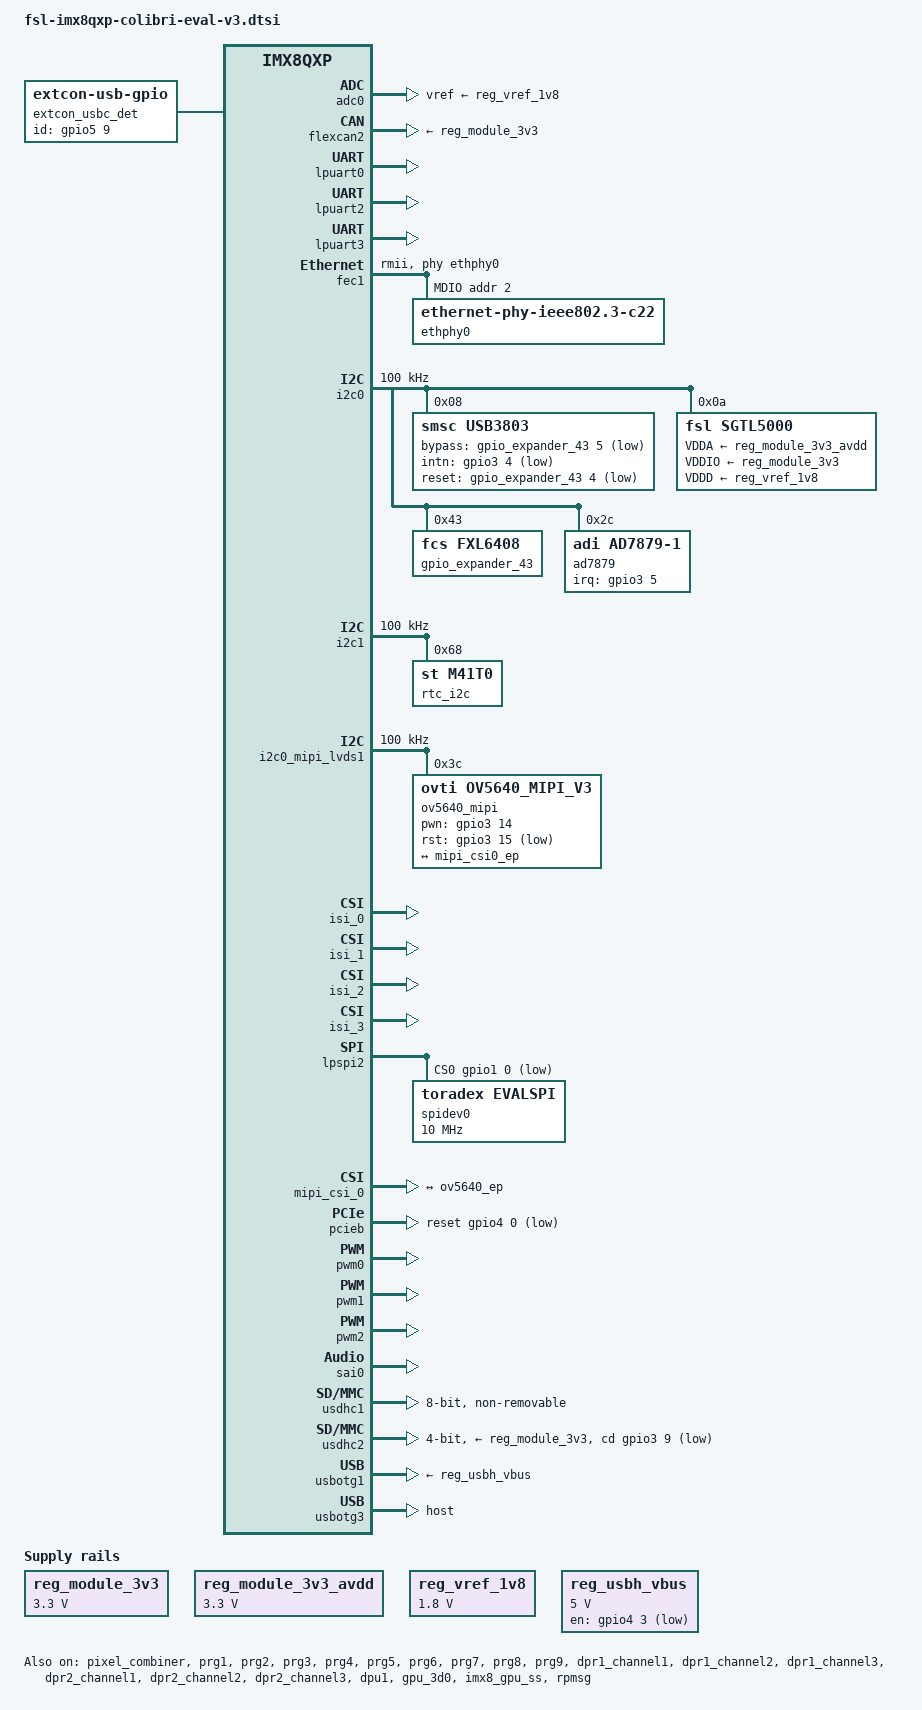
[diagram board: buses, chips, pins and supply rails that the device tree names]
// SPDX-License-Identifier: GPL-2.0+ OR X11
/*
 * Copyright 2018-2019 Toradex
 */

#include "fsl-imx8qxp.dtsi"

/ {
	aliases {
		rtc0 = &rtc_i2c;
		rtc1 = &rtc;
	};

	chosen {
		bootargs = "console=ttyLP3,115200 earlycon=lpuart32,0x5a090000,115200";
		stdout-path = &lpuart3;
	};

	extcon_usbc_det: usbc_det {
		compatible = "linux,extcon-usb-gpio";
		debounce = <25>;
		id-gpio = <&gpio5 9 GPIO_ACTIVE_HIGH>;
		pinctrl-names = "default";
		pinctrl-0 = <&pinctrl_usbc_det &pinctrl_ext_io0>;
	};

	regulators {
		compatible = "simple-bus";
		#address-cells = <1>;
		#size-cells = <0>;

		reg_module_3v3: regulator-module-3v3 {
			compatible = "regulator-fixed";
			regulator-name = "+V3.3";
			regulator-min-microvolt = <3300000>;
			regulator-max-microvolt = <3300000>;
		};

		reg_module_3v3_avdd: regulator-module-3v3-avdd {
			compatible = "regulator-fixed";
			regulator-name = "+V3.3_AVDD_AUDIO";
			regulator-min-microvolt = <3300000>;
			regulator-max-microvolt = <3300000>;
		};

		reg_vref_1v8: regulator-vref-1v8 {
			compatible = "regulator-fixed";
			regulator-name = "vref-1v8";
			regulator-min-microvolt = <1800000>;
			regulator-max-microvolt = <1800000>;
		};

		reg_usbh_vbus: regulator-usbh-vbus {
			compatible = "regulator-fixed";
			pinctrl-names = "default";
			pinctrl-0 = <&pinctrl_usbh1_reg>;
			regulator-name = "usbh_vbus";
			regulator-min-microvolt = <5000000>;
			regulator-max-microvolt = <5000000>;
			gpio = <&gpio4 3 GPIO_ACTIVE_LOW>;
			regulator-always-on;
		};
	};

	sound {
		compatible = "simple-audio-card";
		simple-audio-card,name = "imx8qxp-sgtl5000";
		simple-audio-card,format = "i2s";
		simple-audio-card,bitclock-master = <&dailink_master>;
		simple-audio-card,frame-master = <&dailink_master>;
		/*simple-audio-card,mclk-fs = <1>;*/

		simple-audio-card,cpu {
			sound-dai = <&sai0>;
		};

		dailink_master: simple-audio-card,codec {
			sound-dai = <&sgtl5000>;
			clocks = <&clk IMX8QXP_AUD_MCLKOUT0>;
		};
	};
};

&iomuxc {
	pinctrl-names = "default";
	pinctrl-0 = <&pinctrl_hog0>, <&pinctrl_hog1>, <&pinctrl_hog2>;

	colibri-imx8qxp {
		pinctrl_ad7879_int: ad7879-int { /* TOUCH Interrupt */
			fsl,pins = <
				SC_P_MIPI_CSI0_I2C0_SCL_LSIO_GPIO3_IO05	0x00000021
			>;
		};

		pinctrl_adc0: adc0grp {
			fsl,pins = <
				SC_P_ADC_IN0_ADMA_ADC_IN0		0x60
				SC_P_ADC_IN1_ADMA_ADC_IN1		0x60
				SC_P_ADC_IN4_ADMA_ADC_IN4		0x60
				SC_P_ADC_IN5_ADMA_ADC_IN5		0x60
			>;
		};

		pinctrl_csi_ctl: csictlgrp {
			fsl,pins = <
				SC_P_QSPI0A_SS0_B_LSIO_GPIO3_IO14	0x00000020 /*  77 */
				SC_P_QSPI0A_SS1_B_LSIO_GPIO3_IO15	0x00000020 /*  89 */
			>;
		};

		pinctrl_lpuart0: lpuart0grp {
			fsl,pins = <
				SC_P_UART0_RX_ADMA_UART0_RX	0x06000020
				SC_P_UART0_TX_ADMA_UART0_TX	0x06000020
				SC_P_FLEXCAN0_RX_ADMA_UART0_RTS_B	0x06000020
				SC_P_FLEXCAN0_TX_ADMA_UART0_CTS_B	0x06000020
			>;
		};

		pinctrl_lpuart2: lpuart2grp {
			fsl,pins = <
				SC_P_UART2_RX_ADMA_UART2_RX	0x06000020
				SC_P_UART2_TX_ADMA_UART2_TX	0x06000020
			>;
		};

		pinctrl_lpuart3: lpuart3grp {
			fsl,pins = <
				SC_P_FLEXCAN2_RX_ADMA_UART3_RX	0x06000020
				SC_P_FLEXCAN2_TX_ADMA_UART3_TX	0x06000020
			>;
		};

		pinctrl_lpuart3_ctrl: lpuart3ctrlgrp {
			fsl,pins = <
				SC_P_MIPI_DSI1_GPIO0_01_LSIO_GPIO2_IO00 0x00000020 /* DTR */
				SC_P_SAI1_RXD_LSIO_GPIO0_IO29		0x00000020 /* CTS */
				SC_P_SAI1_RXC_LSIO_GPIO0_IO30		0x00000020 /* RTS */
				SC_P_CSI_RESET_LSIO_GPIO3_IO03		0x00000020 /* DSR */
				SC_P_USDHC1_CD_B_LSIO_GPIO4_IO22	0x00000020 /* DCD */
				SC_P_CSI_EN_LSIO_GPIO3_IO02		0x00000020 /* RI */
			>;
		};

		pinctrl_fec1: fec1grp {
			fsl,pins = <
				SC_P_COMP_CTL_GPIO_1V8_3V3_ENET_ENETB0_PAD	0x000014a0 /* Use pads in 3.3V mode */
				SC_P_COMP_CTL_GPIO_1V8_3V3_ENET_ENETB1_PAD	0x000014a0 /* Use pads in 3.3V mode */
				SC_P_ENET0_MDC_CONN_ENET0_MDC			0x06000020
				SC_P_ENET0_MDIO_CONN_ENET0_MDIO			0x06000020
				SC_P_ENET0_RGMII_TX_CTL_CONN_ENET0_RGMII_TX_CTL	0x00000061
				SC_P_ENET0_RGMII_TXC_CONN_ENET0_RCLK50M_OUT	0x06000061
				SC_P_ENET0_RGMII_TXD0_CONN_ENET0_RGMII_TXD0	0x00000061
				SC_P_ENET0_RGMII_TXD1_CONN_ENET0_RGMII_TXD1	0x00000061
				SC_P_ENET0_RGMII_RX_CTL_CONN_ENET0_RGMII_RX_CTL	0x00000061
				SC_P_ENET0_RGMII_RXD0_CONN_ENET0_RGMII_RXD0	0x00000061
				SC_P_ENET0_RGMII_RXD1_CONN_ENET0_RGMII_RXD1	0x00000061
				SC_P_ENET0_RGMII_RXD2_CONN_ENET0_RMII_RX_ER	0x00000061
			>;
		};

		pinctrl_fec1_sleep: fec1-sleep-grp {
			fsl,pins = <
				SC_P_ENET0_MDC_LSIO_GPIO5_IO11			0x06000041
				SC_P_ENET0_MDIO_LSIO_GPIO5_IO10			0x06000041
				SC_P_ENET0_RGMII_TX_CTL_LSIO_GPIO4_IO30		0x00000041
				SC_P_ENET0_RGMII_TXC_LSIO_GPIO4_IO29		0x00000041
				SC_P_ENET0_RGMII_TXD0_LSIO_GPIO4_IO31		0x00000041
				SC_P_ENET0_RGMII_TXD1_LSIO_GPIO5_IO00		0x00000041
				SC_P_ENET0_RGMII_RX_CTL_LSIO_GPIO5_IO04		0x00000041
				SC_P_ENET0_RGMII_RXD0_LSIO_GPIO5_IO05		0x00000041
				SC_P_ENET0_RGMII_RXD1_LSIO_GPIO5_IO06		0x00000041
				SC_P_ENET0_RGMII_RXD2_LSIO_GPIO5_IO07		0x00000041
			>;
		};

		pinctrl_gpio_bl_on: gpio-bl-on {
			fsl,pins = <
				SC_P_QSPI0A_DATA3_LSIO_GPIO3_IO12	0x00000040
			>;
		};

		pinctrl_hog0: hog0grp {
			fsl,pins = <
				SC_P_COMP_CTL_GPIO_1V8_3V3_GPIORHB_PAD	0x000514a0 /* Use pads in 3.3V mode */
			>;
		};

		pinctrl_hog1: hog1grp {
			fsl,pins = <
				SC_P_QSPI0A_DATA1_LSIO_GPIO3_IO10	0x00000020 /*  45 */
				SC_P_ENET0_RGMII_TXD3_LSIO_GPIO5_IO02	0x06000020 /*  65 */
					SC_P_CSI_D07_CI_PI_D09		0x00000061
				SC_P_QSPI0A_DATA2_LSIO_GPIO3_IO11	0x00000020 /*  69 */
				SC_P_QSPI0A_DQS_LSIO_GPIO3_IO13		0x00000020 /*  73 */
				SC_P_SAI0_TXC_LSIO_GPIO0_IO26		0x00000020 /*  79 */
					SC_P_CSI_D02_CI_PI_D04		0x00000061
				SC_P_ENET0_RGMII_RXC_LSIO_GPIO5_IO03	0x06000020 /*  85 */
					SC_P_CSI_D06_CI_PI_D08		0x00000061
				SC_P_QSPI0B_SCLK_LSIO_GPIO3_IO17	0x00000020 /*  95 */
				SC_P_SAI0_RXD_LSIO_GPIO0_IO27		0x00000020 /*  97 */
					SC_P_CSI_D03_CI_PI_D05		0x00000061
				SC_P_QSPI0B_DATA0_LSIO_GPIO3_IO18	0x00000020 /*  99 */
				SC_P_SAI0_TXFS_LSIO_GPIO0_IO28		0x00000020 /* 101 */
					SC_P_CSI_D00_CI_PI_D02		0x00000061
				SC_P_SAI0_TXD_LSIO_GPIO0_IO25		0x00000020 /* 103 */
					SC_P_CSI_D01_CI_PI_D03		0x00000061
				SC_P_QSPI0B_DATA1_LSIO_GPIO3_IO19	0x00000020 /* 105 */
				SC_P_QSPI0B_DATA2_LSIO_GPIO3_IO20	0x00000020 /* 107 */
				SC_P_USB_SS3_TC2_LSIO_GPIO4_IO05	0x00000020 /* 127 */
				SC_P_USB_SS3_TC3_LSIO_GPIO4_IO06	0x00000020 /* 131 */
				SC_P_USB_SS3_TC1_LSIO_GPIO4_IO04	0x00000020 /* 133 */
				SC_P_CSI_PCLK_LSIO_GPIO3_IO00		0x00000020 /*  96 */
				SC_P_QSPI0B_DATA3_LSIO_GPIO3_IO21	0x00000020 /*  98 */
				SC_P_SAI1_RXFS_LSIO_GPIO0_IO31		0x00000020 /* 100 */
				SC_P_QSPI0B_DQS_LSIO_GPIO3_IO22		0x00000020 /* 102 */
				SC_P_QSPI0B_SS0_B_LSIO_GPIO3_IO23	0x00000020 /* 104 */
				SC_P_QSPI0B_SS1_B_LSIO_GPIO3_IO24	0x00000020 /* 106 */
			>;
		};

		pinctrl_hog2: hog2grp {
			fsl,pins = <
				SC_P_CSI_MCLK_LSIO_GPIO3_IO01		0x00000020 /*  75 */
				SC_P_QSPI0A_SCLK_LSIO_GPIO3_IO16	0x00000020 /*  93 */
			>;
		};

		/* This pin is used in the SCFW as a UART. Using it from
		 * Linux would require rewritting the SCFW board file.
		 */
		pinctrl_hog_scfw: hogscfwgrp {
			fsl,pins = <
				SC_P_SCU_GPIO0_00_LSIO_GPIO2_IO03	0x00000020 /* 144 */
			>;
		};

		/* On Module I2C */
		pinctrl_i2c0: i2c0grp {
			fsl,pins = <
				SC_P_MIPI_CSI0_GPIO0_00_ADMA_I2C0_SCL	0x06000021
				SC_P_MIPI_CSI0_GPIO0_01_ADMA_I2C0_SDA	0x06000021
			>;
		};

		/* Off Module I2C */
		pinctrl_i2c1: i2c1grp {
			fsl,pins = <
				SC_P_MIPI_DSI0_GPIO0_00_ADMA_I2C1_SCL	0x06000021
				SC_P_MIPI_DSI0_GPIO0_01_ADMA_I2C1_SDA	0x06000021
			>;
		};

		pinctrl_flexcan1: flexcan0grp {
			fsl,pins = <
				SC_P_FLEXCAN0_TX_ADMA_FLEXCAN0_TX		0x21
				SC_P_FLEXCAN0_RX_ADMA_FLEXCAN0_RX		0x21
			>;
		};

		pinctrl_flexcan2: flexcan1grp {
			fsl,pins = <
				SC_P_FLEXCAN1_TX_ADMA_FLEXCAN1_TX		0x21
				SC_P_FLEXCAN1_RX_ADMA_FLEXCAN1_RX		0x21
			>;
		};

		pinctrl_pcieb: pciebgrp {
			fsl,pins = <
				SC_P_PCIE_CTRL0_CLKREQ_B_LSIO_GPIO4_IO01 0x04000061
				SC_P_PCIE_CTRL0_WAKE_B_LSIO_GPIO4_IO02	0x04000061
				SC_P_PCIE_CTRL0_PERST_B_LSIO_GPIO4_IO00	0x00000060
			>;
		};

		pinctrl_pwm_a: pwma {
		/* both pins are connected together, reserve the unused CSI_D05 */
			fsl,pins = <
				SC_P_CSI_D05_CI_PI_D07			0x00000061
				SC_P_SPI0_CS1_ADMA_LCD_PWM0_OUT		0x00000060
			>;
		};

		pinctrl_pwm_b: pwmb {
			fsl,pins = <
				SC_P_UART1_TX_LSIO_PWM0_OUT		0x00000060
			>;
		};

		pinctrl_pwm_c: pwmc {
			fsl,pins = <
				SC_P_UART1_RX_LSIO_PWM1_OUT		0x00000060
			>;
		};

		pinctrl_pwm_d: pwmd {
		/* both pins are connected together, reserve the unused CSI_D04 */
			fsl,pins = <
				SC_P_CSI_D04_CI_PI_D06			0x00000061
				SC_P_UART1_RTS_B_LSIO_PWM2_OUT		0x00000060
			>;
		};

		pinctrl_sai0: sai0grp {
			fsl,pins = <
				SC_P_SPI0_SDI_ADMA_SAI0_TXD		0x06000040
				SC_P_SPI0_CS0_ADMA_SAI0_RXD		0x06000040
				SC_P_SPI0_SCK_ADMA_SAI0_TXC		0x06000040
				SC_P_SPI0_SDO_ADMA_SAI0_TXFS		0x06000040
			>;
		};

		pinctrl_sgtl5000: sgtl5000 {
			fsl,pins = <
				/* MIC GND EN */
				SC_P_MIPI_CSI0_I2C0_SDA_LSIO_GPIO3_IO06 0x00000041
			>;
		};

		pinctrl_sgtl5000_usb_clk: sgtl5000-usb-clk {
			fsl,pins = <
				SC_P_ADC_IN3_ADMA_ACM_MCLK_OUT0		0x00000021
			>;
		};

		/*INT*/
		pinctrl_usb3503a: usb3503a-grp {
			fsl,pins = <
				SC_P_MIPI_CSI0_MCLK_OUT_LSIO_GPIO3_IO04 0x00000061
			>;
		};

		pinctrl_usbc_det: usbc-det {
			fsl,pins = <
				SC_P_ENET0_REFCLK_125M_25M_LSIO_GPIO5_IO09	0x06000040
			>;
		};

		pinctrl_ext_io0: ext-io0 {
			fsl,pins = <
				SC_P_ENET0_RGMII_RXD3_LSIO_GPIO5_IO08	0x06000040
			>;
		};

		pinctrl_lcdif: lcdif-pins {
			fsl,pins = <
				SC_P_MCLK_OUT0_ADMA_LCDIF_CLK		0x00000060
				SC_P_SPI3_CS0_ADMA_LCDIF_HSYNC		0x00000060
				SC_P_MCLK_IN0_ADMA_LCDIF_VSYNC		0x00000060
				SC_P_MCLK_IN1_ADMA_LCDIF_EN		0x00000060
				  SC_P_USDHC1_RESET_B_LSIO_GPIO4_IO19	0x00000060

				SC_P_ESAI0_FSR_ADMA_LCDIF_D00		0x00000060
				  SC_P_USDHC1_WP_LSIO_GPIO4_IO21	0x00000060
				SC_P_ESAI0_FST_ADMA_LCDIF_D01		0x00000060
				SC_P_ESAI0_SCKR_ADMA_LCDIF_D02		0x00000060
				SC_P_ESAI0_SCKT_ADMA_LCDIF_D03		0x00000060
				SC_P_ESAI0_TX0_ADMA_LCDIF_D04		0x00000060
				SC_P_ESAI0_TX1_ADMA_LCDIF_D05		0x00000060
				SC_P_ESAI0_TX2_RX3_ADMA_LCDIF_D06	0x00000060
				SC_P_ESAI0_TX3_RX2_ADMA_LCDIF_D07	0x00000060
				SC_P_ESAI0_TX4_RX1_ADMA_LCDIF_D08	0x00000060
				SC_P_ESAI0_TX5_RX0_ADMA_LCDIF_D09	0x00000060
				SC_P_SPDIF0_RX_ADMA_LCDIF_D10		0x00000060
				SC_P_SPDIF0_TX_ADMA_LCDIF_D11		0x00000060
				SC_P_SPDIF0_EXT_CLK_ADMA_LCDIF_D12	0x00000060
				SC_P_SPI3_SCK_ADMA_LCDIF_D13		0x00000060
				SC_P_SPI3_SDO_ADMA_LCDIF_D14		0x00000060
				SC_P_SPI3_SDI_ADMA_LCDIF_D15		0x00000060
				SC_P_SPI3_CS1_ADMA_LCDIF_D16		0x00000060
				  SC_P_ENET0_RGMII_TXD2_LSIO_GPIO5_IO01	0x00000060
				SC_P_UART1_CTS_B_ADMA_LCDIF_D17		0x00000060
			>;
		};

		pinctrl_usbh1_reg: usbh1-reg {
			fsl,pins = <
				SC_P_USB_SS3_TC0_LSIO_GPIO4_IO03	0x06000040
			>;
		};

		pinctrl_usdhc1: usdhc1grp {
			fsl,pins = <
				SC_P_EMMC0_CLK_CONN_EMMC0_CLK		0x06000041
				SC_P_EMMC0_CMD_CONN_EMMC0_CMD		0x00000021
				SC_P_EMMC0_DATA0_CONN_EMMC0_DATA0	0x00000021
				SC_P_EMMC0_DATA1_CONN_EMMC0_DATA1	0x00000021
				SC_P_EMMC0_DATA2_CONN_EMMC0_DATA2	0x00000021
				SC_P_EMMC0_DATA3_CONN_EMMC0_DATA3	0x00000021
				SC_P_EMMC0_DATA4_CONN_EMMC0_DATA4	0x00000021
				SC_P_EMMC0_DATA5_CONN_EMMC0_DATA5	0x00000021
				SC_P_EMMC0_DATA6_CONN_EMMC0_DATA6	0x00000021
				SC_P_EMMC0_DATA7_CONN_EMMC0_DATA7	0x00000021
				SC_P_EMMC0_STROBE_CONN_EMMC0_STROBE	0x00000041
				SC_P_EMMC0_RESET_B_CONN_EMMC0_RESET_B	0x00000021
			>;
		};

		pinctrl_usdhc1_100mhz: usdhc1grp100mhz {
			fsl,pins = <
				SC_P_EMMC0_CLK_CONN_EMMC0_CLK		0x06000041
				SC_P_EMMC0_CMD_CONN_EMMC0_CMD		0x00000021
				SC_P_EMMC0_DATA0_CONN_EMMC0_DATA0	0x00000021
				SC_P_EMMC0_DATA1_CONN_EMMC0_DATA1	0x00000021
				SC_P_EMMC0_DATA2_CONN_EMMC0_DATA2	0x00000021
				SC_P_EMMC0_DATA3_CONN_EMMC0_DATA3	0x00000021
				SC_P_EMMC0_DATA4_CONN_EMMC0_DATA4	0x00000021
				SC_P_EMMC0_DATA5_CONN_EMMC0_DATA5	0x00000021
				SC_P_EMMC0_DATA6_CONN_EMMC0_DATA6	0x00000021
				SC_P_EMMC0_DATA7_CONN_EMMC0_DATA7	0x00000021
				SC_P_EMMC0_STROBE_CONN_EMMC0_STROBE	0x00000041
				SC_P_EMMC0_RESET_B_CONN_EMMC0_RESET_B	0x00000021
			>;
		};

		pinctrl_usdhc1_200mhz: usdhc1grp200mhz {
			fsl,pins = <
				SC_P_EMMC0_CLK_CONN_EMMC0_CLK		0x06000041
				SC_P_EMMC0_CMD_CONN_EMMC0_CMD		0x00000021
				SC_P_EMMC0_DATA0_CONN_EMMC0_DATA0	0x00000021
				SC_P_EMMC0_DATA1_CONN_EMMC0_DATA1	0x00000021
				SC_P_EMMC0_DATA2_CONN_EMMC0_DATA2	0x00000021
				SC_P_EMMC0_DATA3_CONN_EMMC0_DATA3	0x00000021
				SC_P_EMMC0_DATA4_CONN_EMMC0_DATA4	0x00000021
				SC_P_EMMC0_DATA5_CONN_EMMC0_DATA5	0x00000021
				SC_P_EMMC0_DATA6_CONN_EMMC0_DATA6	0x00000021
				SC_P_EMMC0_DATA7_CONN_EMMC0_DATA7	0x00000021
				SC_P_EMMC0_STROBE_CONN_EMMC0_STROBE	0x00000041
				SC_P_EMMC0_RESET_B_CONN_EMMC0_RESET_B	0x00000021
			>;
		};

		pinctrl_usdhc2_gpio: usdhc2gpiogrp {
			fsl,pins = <
				SC_P_QSPI0A_DATA0_LSIO_GPIO3_IO09	0x06000021
			>;
		};

		pinctrl_usdhc2: usdhc2grp {
			fsl,pins = <
				SC_P_USDHC1_CLK_CONN_USDHC1_CLK		0x06000041
				SC_P_USDHC1_CMD_CONN_USDHC1_CMD		0x00000021
				SC_P_USDHC1_DATA0_CONN_USDHC1_DATA0	0x00000021
				SC_P_USDHC1_DATA1_CONN_USDHC1_DATA1	0x00000021
				SC_P_USDHC1_DATA2_CONN_USDHC1_DATA2	0x00000021
				SC_P_USDHC1_DATA3_CONN_USDHC1_DATA3	0x00000021
				SC_P_USDHC1_VSELECT_CONN_USDHC1_VSELECT	0x00000021
			>;
		};

		pinctrl_usdhc2_100mhz: usdhc2grp100mhz {
			fsl,pins = <
				SC_P_USDHC1_CLK_CONN_USDHC1_CLK		0x06000041
				SC_P_USDHC1_CMD_CONN_USDHC1_CMD		0x00000021
				SC_P_USDHC1_DATA0_CONN_USDHC1_DATA0	0x00000021
				SC_P_USDHC1_DATA1_CONN_USDHC1_DATA1	0x00000021
				SC_P_USDHC1_DATA2_CONN_USDHC1_DATA2	0x00000021
				SC_P_USDHC1_DATA3_CONN_USDHC1_DATA3	0x00000021
				SC_P_USDHC1_VSELECT_CONN_USDHC1_VSELECT	0x00000021
			>;
		};

		pinctrl_usdhc2_200mhz: usdhc2grp200mhz {
			fsl,pins = <
				SC_P_USDHC1_CLK_CONN_USDHC1_CLK		0x06000041
				SC_P_USDHC1_CMD_CONN_USDHC1_CMD		0x00000021
				SC_P_USDHC1_DATA0_CONN_USDHC1_DATA0	0x00000021
				SC_P_USDHC1_DATA1_CONN_USDHC1_DATA1	0x00000021
				SC_P_USDHC1_DATA2_CONN_USDHC1_DATA2	0x00000021
				SC_P_USDHC1_DATA3_CONN_USDHC1_DATA3	0x00000021
				SC_P_USDHC1_VSELECT_CONN_USDHC1_VSELECT	0x00000021
			>;
		};
#if 0
		pinctrl_flexspi0: flexspi0grp {
			fsl,pins = <
				SC_P_QSPI0A_DATA0_LSIO_QSPI0A_DATA0	0x0600004c
				SC_P_QSPI0A_DATA1_LSIO_QSPI0A_DATA1	0x0600004c
				SC_P_QSPI0A_DATA2_LSIO_QSPI0A_DATA2	0x0600004c
				SC_P_QSPI0A_DATA3_LSIO_QSPI0A_DATA3	0x0600004c
				SC_P_QSPI0A_DQS_LSIO_QSPI0A_DQS		0x0600004c
				SC_P_QSPI0A_SS0_B_LSIO_QSPI0A_SS0_B	0x0600004c
				SC_P_QSPI0A_SS1_B_LSIO_QSPI0A_SS1_B	0x0600004c
				SC_P_QSPI0A_SCLK_LSIO_QSPI0A_SCLK	0x0600004c
				SC_P_QSPI0B_SCLK_LSIO_QSPI0B_SCLK	0x0600004c
				SC_P_QSPI0B_DATA0_LSIO_QSPI0B_DATA0	0x0600004c
				SC_P_QSPI0B_DATA1_LSIO_QSPI0B_DATA1	0x0600004c
				SC_P_QSPI0B_DATA2_LSIO_QSPI0B_DATA2	0x0600004c
				SC_P_QSPI0B_DATA3_LSIO_QSPI0B_DATA3	0x0600004c
				SC_P_QSPI0B_DQS_LSIO_QSPI0B_DQS		0x0600004c
				SC_P_QSPI0B_SS0_B_LSIO_QSPI0B_SS0_B	0x0600004c
				SC_P_QSPI0B_SS1_B_LSIO_QSPI0B_SS1_B	0x0600004c
			>;
		};
#endif
		pinctrl_i2c0_mipi_lvds0: mipi_lvds0_i2c0_grp {
			fsl,pins = <
				SC_P_MIPI_DSI0_I2C0_SCL_MIPI_DSI0_I2C0_SCL 0xc6000020
				SC_P_MIPI_DSI0_I2C0_SDA_MIPI_DSI0_I2C0_SDA 0xc6000020
			>;
		};

		pinctrl_i2c0_mipi_csi: mipi_csi_i2c0_grp {
			fsl,pins = <
				SC_P_MIPI_DSI1_I2C0_SCL_MIPI_DSI1_I2C0_SCL 0xc6000020
				SC_P_MIPI_DSI1_I2C0_SDA_MIPI_DSI1_I2C0_SDA 0xc6000020
			>;
		};

		pinctrl_lpspi2: lpspi2 {
			fsl,pins = <
				SC_P_SPI2_CS0_LSIO_GPIO1_IO00	0x00000021
				SC_P_SPI2_SDO_ADMA_SPI2_SDO	0x06000040
				SC_P_SPI2_SDI_ADMA_SPI2_SDI	0x06000040
				SC_P_SPI2_SCK_ADMA_SPI2_SCK	0x06000040
			>;
		};

		pinctrl_wifi: wifigrp {
			fsl,pins = <
				SC_P_SCU_BOOT_MODE3_SCU_DSC_RTC_CLOCK_OUTPUT_32K 0x00000020
			>;
		};
	};
};

#ifndef IS_A0_SILICON
&adc0 {
	pinctrl-names = "default";
	pinctrl-0 = <&pinctrl_adc0>;
	vref-supply = <&reg_vref_1v8>;
	status = "okay";
};
#endif

/* CAN on UART_B RTS/CTS */
&flexcan1 {
	pinctrl-names = "default";
	pinctrl-0 = <&pinctrl_flexcan1>;
	xceiver-supply = <&reg_module_3v3>;
	status = "disabled";
};

&flexcan2 {
	pinctrl-names = "default";
	pinctrl-0 = <&pinctrl_flexcan2>;
	xceiver-supply = <&reg_module_3v3>;
	status = "okay";
};

&lpuart0 {
	pinctrl-names = "default";
	pinctrl-0 = <&pinctrl_lpuart0>;
	status = "okay";
};

&lpuart2 {
	pinctrl-names = "default";
	pinctrl-0 = <&pinctrl_lpuart2>;
	status = "okay";
};

&pd_dma_lpuart3 {
	debug_console;
};

&lpuart3 {
	pinctrl-names = "default";
	pinctrl-0 = <&pinctrl_lpuart3>, <&pinctrl_lpuart3_ctrl>;
	status = "okay";
};

&gpio0 {
	status = "okay";
};

&gpio1 {
	status = "okay";
};

&gpio3 {
	status = "okay";
};

&gpio4 {
	status = "okay";
};

&pixel_combiner {
	status = "okay";
};

&prg1 {
	status = "okay";
};

&prg2 {
	status = "okay";
};

&prg3 {
	status = "okay";
};

&prg4 {
	status = "okay";
};

&prg5 {
	status = "okay";
};

&prg6 {
	status = "okay";
};

&prg7 {
	status = "okay";
};

&prg8 {
	status = "okay";
};

&prg9 {
	status = "okay";
};

/* Display Prefetch Resolve, (Tiling) */
&dpr1_channel1 {
	status = "okay";
};

&dpr1_channel2 {
	status = "okay";
};

&dpr1_channel3 {
	status = "okay";
};

&dpr2_channel1 {
	status = "okay";
};

&dpr2_channel2 {
	status = "okay";
};

&dpr2_channel3 {
	status = "okay";
};

&dpu1 {
	status = "okay";
};

&gpu_3d0 {
	status = "okay";
};

&imx8_gpu_ss {
	status = "okay";
};

&fec1 {
	pinctrl-names = "default", "sleep";
	pinctrl-0 = <&pinctrl_fec1>;
	pinctrl-1 = <&pinctrl_fec1_sleep>;
	clocks = <&clk IMX8QXP_ENET0_IPG_CLK>,
		 <&clk IMX8QXP_ENET0_AHB_CLK>,
		 <&clk IMX8QXP_ENET0_REF_50MHZ_CLK>,
		 <&clk IMX8QXP_ENET0_PTP_CLK>,
		 <&clk IMX8QXP_ENET0_TX_CLK>;
	phy-mode = "rmii";
	phy-handle = <&ethphy0>;
	fsl,magic-packet;
	status = "okay";

	mdio {
		#address-cells = <1>;
		#size-cells = <0>;

		ethphy0: ethernet-phy@2 {
			compatible = "ethernet-phy-ieee802.3-c22";
			max-speed = <100>;
			reg = <2>;
		};
	};
};
#if 0
&flexspi0 {
	pinctrl-names = "default";
	pinctrl-0 = <&pinctrl_flexspi0>;
	status = "okay";

	flash0: mt35xu512aba@0 {
		reg = <0>;
		#address-cells = <1>;
		#size-cells = <1>;
		compatible = "spi-flash";
		spi-max-frequency = <29000000>;
		spi-nor,ddr-quad-read-dummy = <8>;
	};
};
#endif

&i2c0 {
	#address-cells = <1>;
	#size-cells = <0>;
	clock-frequency = <100000>;
	pinctrl-names = "default";
	pinctrl-0 = <&pinctrl_i2c0>, <&pinctrl_sgtl5000_usb_clk>;
	status = "okay";

	/* IMX8QXP_AUD_MCLKOUT0 is used by both the usb3803 and sgtl5000
	   So do the pinmuxing and setup for both here */
	assigned-clocks = <&clk IMX8QXP_AUD_PLL0_DIV>,
			  <&clk IMX8QXP_AUD_ACM_AUD_PLL_CLK0_DIV>,
			  <&clk IMX8QXP_AUD_ACM_AUD_REC_CLK0_DIV>,
			  <&clk IMX8QXP_AUD_MCLKOUT0>;
	assigned-clock-rates = <786432000>, <49152000>, <12000000>, <12000000>;

	/* USB3503A */
	usb3803@08 {
		compatible = "smsc,usb3803";
		pinctrl-names = "default";
		pinctrl-0 = <&pinctrl_usb3503a>;
		reg = <0x08>;
		clocks = <&clk IMX8QXP_AUD_MCLKOUT0>;
		clock-names = "refclk";
		power-domains = <&pd_mclk_out0>;
		bypass-gpios = <&gpio_expander_43 5 GPIO_ACTIVE_LOW>;
		intn-gpios = <&gpio3 4 GPIO_ACTIVE_LOW>;
		reset-gpios = <&gpio_expander_43 4 GPIO_ACTIVE_LOW>;
		disabled-ports = <2>;
		initial-mode = <1>;
		non-removable-devices = <1>;
	};

	/* SGTL5000 */
	sgtl5000: codec@a {
		compatible = "fsl,sgtl5000";
		#sound-dai-cells = <0>;
		pinctrl-names = "default";
		pinctrl-0 = <&pinctrl_sgtl5000>;
		reg = <0x0a>;
		clocks = <&clk IMX8QXP_AUD_MCLKOUT0>;
		power-domains = <&pd_mclk_out0>;
		VDDA-supply = <&reg_module_3v3_avdd>;
		VDDIO-supply = <&reg_module_3v3>;
		VDDD-supply = <&reg_vref_1v8>;
	};

	/* GPIO expander */
	gpio_expander_43: gpio-expander@43 {
		compatible = "fcs,fxl6408";
		gpio-controller;
		#gpio-cells = <2>;
		reg = <0x43>;
		inital_io_dir = <0xff>;
		inital_output = <0x05>;
	};

	/* Touch controller */
	ad7879@2c {
		compatible = "adi,ad7879-1";
		pinctrl-names = "default";
		pinctrl-0 = <&pinctrl_ad7879_int>;
		reg = <0x2c>;
		interrupt-parent = <&gpio3>;
		interrupts = <5 IRQ_TYPE_EDGE_FALLING>;
		touchscreen-max-pressure = <4096>;
		adi,resistance-plate-x = <120>;
		adi,first-conversion-delay = /bits/ 8 <3>;
		adi,acquisition-time = /bits/ 8 <1>;
		adi,median-filter-size = /bits/ 8 <2>;
		adi,averaging = /bits/ 8 <1>;
		adi,conversion-interval = /bits/ 8 <255>;
	};
};

&i2c1 {
	#address-cells = <1>;
	#size-cells = <0>;
	clock-frequency = <100000>;
	pinctrl-names = "default";
	pinctrl-0 = <&pinctrl_i2c1>;
	status = "okay";

	/* M41T0M6 real time clock on carrier board */
	rtc_i2c: rtc@68 {
		compatible = "st,m41t0";
		reg = <0x68>;
	};
};

&i2c0_mipi_lvds1 {
	#address-cells = <1>;
	#size-cells = <0>;
	clock-frequency = <100000>;
	pinctrl-names = "default";
	pinctrl-0 = <&pinctrl_i2c0_mipi_csi>;
	status = "okay";

	ov5640_mipi: ov5640_mipi@3c {
		compatible = "ovti,ov5640_mipi_v3";
		clocks = <&clk IMX8QXP_24MHZ>;
		clock-names = "csi_mclk";
		csi_id = <0>;
		mclk = <24000000>;
		mclk_source = <0>;
		mipi_csi;
		pinctrl-names = "default";
		pinctrl-0 = <&pinctrl_csi_ctl>;
		pwn-gpios = <&gpio3 14 GPIO_ACTIVE_HIGH>;
		reg = <0x3c>;
		rst-gpios = <&gpio3 15 GPIO_ACTIVE_LOW>;
		status = "okay";

		port {
			ov5640_ep: endpoint {
				remote-endpoint = <&mipi_csi0_ep>;
			};
		};
	};
};

&isi_0 {
	status = "okay";
};

&isi_1 {
	status = "okay";
};

&isi_2 {
	status = "okay";
};

&isi_3 {
	status = "okay";
};

&lpspi2 {
	#address-cells = <1>;
	#size-cells = <0>;
	fsl,spi-num-chipselects = <1>;
	pinctrl-names = "default";
	pinctrl-0 = <&pinctrl_lpspi2>;
	cs-gpios = <&gpio1 0 GPIO_ACTIVE_LOW>;
	status = "okay";

	spidev0: spidev@0 {
		compatible = "toradex,evalspi";
		reg = <0>;
		spi-max-frequency = <10000000>;
	};
};

&mipi_csi_0 {
	#address-cells = <1>;
	#size-cells = <0>;
	/delete-property/virtual-channel;
	status = "okay";

	/* Camera 0 MIPI CSI-2 (CSIS0) */
	port@0 {
		reg = <0>;

		mipi_csi0_ep: endpoint {
			data-lanes = <1 2>;
			remote-endpoint = <&ov5640_ep>;
		};
	};
};

&pcieb{
	pinctrl-names = "default";
	pinctrl-0 = <&pinctrl_pcieb &pinctrl_wifi>;
	ext_osc = <1>;
	clkreq-gpio = <&gpio_expander_43 3 GPIO_ACTIVE_HIGH>;
	disable-gpio = <&gpio_expander_43 6 GPIO_ACTIVE_LOW>;
	power-on-gpio = <&gpio_expander_43 2 GPIO_ACTIVE_LOW>;
	reset-gpio = <&gpio4 0 GPIO_ACTIVE_LOW>;
/*	epdev_on-supply = <&reg_wifi>;*/
	fsl,max-link-speed = <1>;
	status = "okay";
};

&pwm_adma_lcdif {
	pinctrl-names = "default";
	pinctrl-0 = <&pinctrl_pwm_a>;
	status = "okay";
};

&pwm0 {
	pinctrl-names = "default";
	pinctrl-0 = <&pinctrl_pwm_b>;
	status = "okay";
};

&pwm1 {
	pinctrl-names = "default";
	pinctrl-0 = <&pinctrl_pwm_c>;
	status = "okay";
};

&pwm2 {
	pinctrl-names = "default";
	pinctrl-0 = <&pinctrl_pwm_d>;
	status = "okay";
};

&rpmsg{
	/*
	 * 64K for one rpmsg instance:
	 */
	vdev-nums = <2>;
	reg = <0x0 0x90000000 0x0 0x20000>;
	status = "okay";
};

&sai0 {
	#sound-dai-cells = <0>;
	pinctrl-names = "default";
	pinctrl-0 = <&pinctrl_sai0>;
	status = "okay";
};

&tsens {
	tsens-num = <3>;
};

&thermal_zones {
	pmic-thermal0 {
		polling-delay-passive = <250>;
		polling-delay = <2000>;
		thermal-sensors = <&tsens 2>;

		trips {
			pmic_alert0: trip0 {
				temperature = <80000>;
				hysteresis = <2000>;
				type = "passive";
			};

			pmic_crit0: trip1 {
				temperature = <125000>;
				hysteresis = <2000>;
				type = "critical";
			};
		};

		cooling-maps {
			map0 {
				trip = <&pmic_alert0>;
				cooling-device =
				<&A35_0 THERMAL_NO_LIMIT THERMAL_NO_LIMIT>;
			};
		};
	};
};

&usdhc1 {
	bus-width = <8>;
	non-removable;
	pinctrl-names = "default", "state_100mhz", "state_200mhz";
	pinctrl-0 = <&pinctrl_usdhc1>;
	pinctrl-1 = <&pinctrl_usdhc1_100mhz>;
	pinctrl-2 = <&pinctrl_usdhc1_200mhz>;
	status = "okay";
};

&usdhc2 {
	bus-width = <4>;
	cd-gpios = <&gpio3 9 GPIO_ACTIVE_LOW>;
	vmmc-supply = <&reg_module_3v3>;
	pinctrl-names = "default", "state_100mhz", "state_200mhz";
	pinctrl-0 = <&pinctrl_usdhc2>, <&pinctrl_usdhc2_gpio>;
	pinctrl-1 = <&pinctrl_usdhc2_100mhz>, <&pinctrl_usdhc2_gpio>;
	pinctrl-2 = <&pinctrl_usdhc2_200mhz>, <&pinctrl_usdhc2_gpio>;
	status = "okay";
};

&usbotg1 {
	extcon = <&extcon_usbc_det &extcon_usbc_det>;
	vbus-supply = <&reg_usbh_vbus>;
	srp-disable;
	hnp-disable;
	adp-disable;
	power-polarity-active-high;
	disable-over-current;
	status = "okay";
};

&usbotg3 {
	dr_mode = "host";
	status = "okay";
};

&vpu {
	status = "disabled";
};

#ifdef IS_A0_SILICON
&vpu_decoder {
	status = "disabled";
};

&vpu_encoder {
	status = "disabled";
};
#else
&vpu_decoder {
	core_type = <1>;
	status = "okay";
};

&vpu_encoder {
	core_type = <1>;
	status = "okay";
};
#endif
